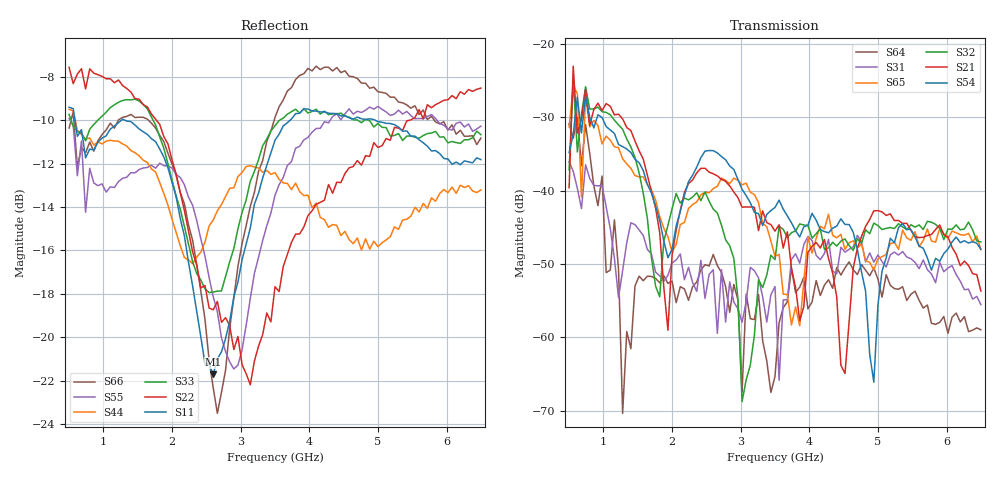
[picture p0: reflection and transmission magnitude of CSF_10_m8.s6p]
!Keysight Technologies,M9804A,MY58100912,A.14.10.03
!Date: Thursday, April 27, 2023 10:28:33
!Correction: S11(C  6-Port  )
!S12(C  6-Port  )
!S13(C  6-Port  )
!S14(C  6-Port  )
!S15(C  6-Port  )
!S16(C  6-Port  )
!S21(C  6-Port  )
!S22(C  6-Port  )
!S23(C  6-Port  )
!S24(C  6-Port  )
!S25(C  6-Port  )
!S26(C  6-Port  )
!S31(C  6-Port  )
!S32(C  6-Port  )
!S33(C  6-Port  )
!S34(C  6-Port  )
!S35(C  6-Port  )
!S36(C  6-Port  )
!S41(C  6-Port  )
!S42(C  6-Port  )
!S43(C  6-Port  )
!S44(C  6-Port  )
!S45(C  6-Port  )
!S46(C  6-Port  )
!S51(C  6-Port  )
!S52(C  6-Port  )
!S53(C  6-Port  )
!S54(C  6-Port  )
!S55(C  6-Port  )
!S56(C  6-Port  )
!S61(C  6-Port  )
!S62(C  6-Port  )
!S63(C  6-Port  )
!S64(C  6-Port  )
!S65(C  6-Port  )
!S66(C  6-Port  )
!S6P File: Measurement: :
# Hz S  RI  R 50
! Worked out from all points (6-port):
!   101 points, 500 MHz to 6.5 GHz, reference 50 ohm
!   strongest paths, dB at 500 MHz, 2 GHz, 3.5 GHz, 5 GHz, 6.5 GHz:
!     S54: -34.8, -48.0, -42.3, -55.6, -48.0
!     S21: -39.6, -48.8, -45.5, -42.7, -53.7
!     S32: -37.2, -42.5, -49.4, -44.8, -47.0
!     S65: -31.4, -48.4, -49.0, -49.3, -48.1
!     S31: -36.1, -49.9, -53.1, -48.8, -55.5
!     S64: -30.9, -52.3, -65.3, -52.1, -59.0
!   lowest |S11| = -21.7 dB at 2.6 GHz (marker M1), VSWR 1.18, Z = 42.7 + j1.97 ohm
!   |S11| at or under -10 dB: 584.8 MHz to 1.264 GHz (679.2 MHz wide, 73.5 % of centre); 1.309 GHz to 3.722 GHz (2.413 GHz wide, 95.9 % of centre); 4.957 GHz to end of sweep
